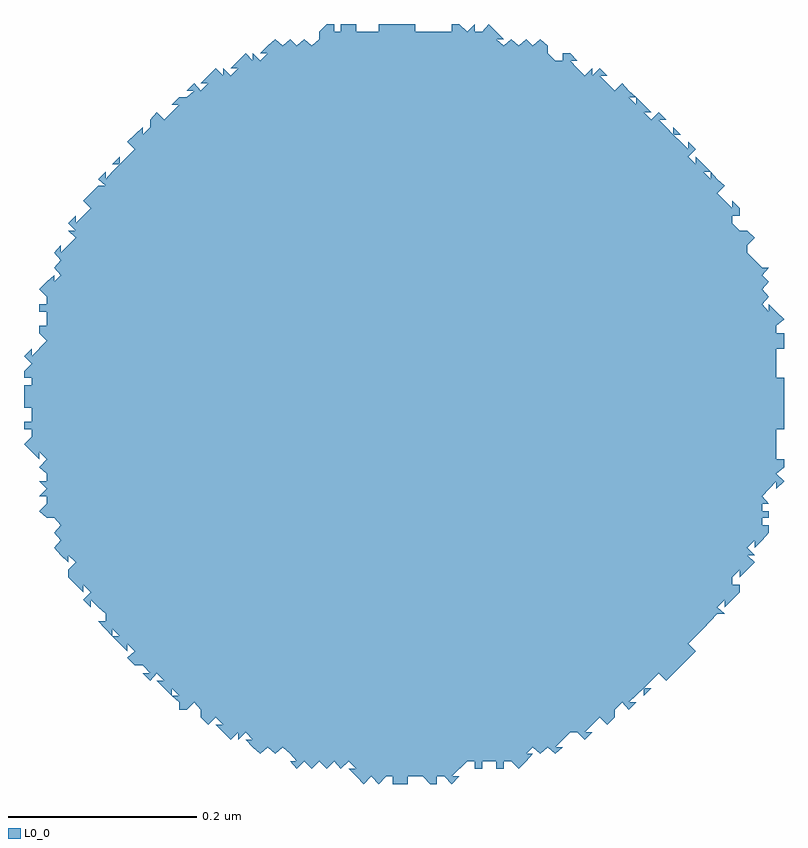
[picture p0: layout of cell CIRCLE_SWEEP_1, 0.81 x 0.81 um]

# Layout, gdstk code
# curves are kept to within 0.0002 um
import gdstk
lib = gdstk.Library(unit=1e-6, precision=1e-09)
def R(c, l, rs):  # rectangles x0, y0, x1, y1
    for r in rs: c.add(gdstk.rectangle(r[:2], r[2:], *l))
def P(c, l, *ps):  # polygons
    for p in ps: c.add(gdstk.Polygon(p, *l))
L0_0 = (0, 0)

circle_sweep_1 = lib.new_cell('CIRCLE_SWEEP_1')
R(circle_sweep_1, L0_0, [(0.067,-0.396,0.075,-0.388), (0.09,-0.396,0.098,-0.388)])
P(circle_sweep_1, L0_0, [(-0.114,-0.388),(-0.129,-0.388),(-0.122,-0.396)],
  [(-0.098,-0.388),(-0.114,-0.388),(-0.106,-0.396)],
  [(-0.082,-0.388),(-0.098,-0.388),(-0.09,-0.396)],
  [(-0.067,-0.388),(-0.082,-0.388),(-0.075,-0.396)],
  [(-0.004,-0.404),(0.012,-0.404),(0.02,-0.412),(0.027,-0.412),(0.027,-0.404),(0.035,-0.404),(0.043,-0.412),(0.051,-0.404),(0.043,-0.404),(0.059,-0.388),(-0.067,-0.388),(-0.059,-0.396),(-0.067,-0.396),(-0.051,-0.412),(-0.043,-0.404),(-0.035,-0.412),(-0.027,-0.404),(-0.02,-0.404),(-0.02,-0.412),(-0.004,-0.412)],
  [(0.122,-0.388),(0.106,-0.388),(0.114,-0.396)],
  [(-0.153,-0.373),(-0.169,-0.373),(-0.161,-0.38)],
  [(-0.137,-0.373),(-0.153,-0.373),(-0.145,-0.38)],
  [(0.129,-0.38),(0.122,-0.38),(0.129,-0.373),(-0.137,-0.373),(-0.129,-0.38),(-0.122,-0.388),(0.122,-0.388)],
  [(0.145,-0.373),(0.129,-0.373),(0.137,-0.38)],
  [(0.161,-0.373),(0.145,-0.373),(0.153,-0.38)],
  [(-0.208,-0.341),(-0.224,-0.341),(-0.216,-0.349)],
  [(0.161,-0.365),(0.169,-0.357),(0.176,-0.357),(0.184,-0.365),(0.192,-0.357),(0.184,-0.357),(0.2,-0.341),(-0.208,-0.341),(-0.2,-0.349),(-0.208,-0.349),(-0.192,-0.365),(-0.184,-0.357),(-0.184,-0.365),(-0.176,-0.357),(-0.169,-0.365),(-0.176,-0.365),(-0.169,-0.373),(0.153,-0.373)],
  [(0.216,-0.341),(0.2,-0.341),(0.208,-0.349)],
  [(0.216,-0.333),(0.224,-0.325),(0.231,-0.333),(0.239,-0.325),(0.231,-0.325),(0.247,-0.31),(0.247,-0.318),(0.255,-0.31),(0.247,-0.31),(0.255,-0.302),(-0.271,-0.302),(-0.255,-0.318),(-0.255,-0.31),(-0.247,-0.318),(-0.255,-0.318),(-0.247,-0.325),(-0.247,-0.333),(-0.239,-0.333),(-0.231,-0.325),(-0.224,-0.333),(-0.224,-0.341),(0.216,-0.341)],
  [(-0.302,-0.263),(-0.31,-0.263),(-0.302,-0.271)],
  [(0.263,-0.294),(0.271,-0.302),(0.302,-0.271),(0.294,-0.263),(-0.302,-0.263),(-0.294,-0.271),(-0.302,-0.278),(-0.294,-0.286),(-0.286,-0.286),(-0.278,-0.294),(-0.286,-0.294),(-0.278,-0.302),(-0.271,-0.294),(-0.263,-0.302),(0.255,-0.302)],
  [(0.302,-0.255),(0.31,-0.247),(0.325,-0.231),(0.333,-0.231),(0.325,-0.224),(0.333,-0.216),(0.333,-0.224),(0.349,-0.208),(-0.341,-0.208),(-0.349,-0.216),(-0.341,-0.224),(-0.341,-0.216),(-0.333,-0.224),(-0.325,-0.231),(-0.325,-0.239),(-0.333,-0.239),(-0.318,-0.255),(-0.318,-0.247),(-0.31,-0.255),(-0.318,-0.255),(-0.31,-0.263),(0.294,-0.263)],
  [(0.349,-0.2),(0.341,-0.2),(0.341,-0.192),(0.349,-0.184),(0.349,-0.192),(0.365,-0.176),(0.357,-0.169),(0.365,-0.169),(0.357,-0.161),(0.365,-0.153),(-0.373,-0.153),(-0.38,-0.161),(-0.373,-0.169),(-0.365,-0.176),(-0.365,-0.169),(-0.357,-0.176),(-0.365,-0.184),(-0.365,-0.192),(-0.349,-0.208),(-0.349,-0.2),(-0.341,-0.208),(0.349,-0.208)],
  [(0.373,-0.153),(0.365,-0.153),(0.365,-0.161)],
  [(0.38,-0.145),(0.38,-0.137),(0.373,-0.137),(0.373,-0.129),(0.38,-0.129),(0.38,-0.122),(0.373,-0.122),(0.373,-0.114),(0.38,-0.114),(0.373,-0.106),(0.388,-0.09),(-0.396,-0.09),(-0.388,-0.098),(-0.396,-0.106),(-0.388,-0.106),(-0.388,-0.114),(-0.396,-0.122),(-0.388,-0.129),(-0.38,-0.129),(-0.373,-0.137),(-0.38,-0.145),(-0.373,-0.153),(0.373,-0.153)],
  [(0.396,-0.09),(0.388,-0.09),(0.388,-0.098)],
  [(0.388,-0.082),(0.396,-0.075),(0.396,-0.067),(0.388,-0.067),(0.388,-0.035),(0.396,-0.035),(0.396,-0.02),(-0.404,-0.02),(-0.404,-0.027),(-0.412,-0.027),(-0.412,-0.035),(-0.404,-0.035),(-0.404,-0.043),(-0.412,-0.051),(-0.396,-0.067),(-0.396,-0.059),(-0.388,-0.067),(-0.396,-0.075),(-0.388,-0.082),(-0.388,-0.09),(0.396,-0.09)],
  [(0.396,0.02),(0.388,0.02),(0.388,0.051),(0.396,0.051),(0.396,0.059),(-0.388,0.059),(-0.404,0.043),(-0.404,0.051),(-0.412,0.043),(-0.404,0.035),(-0.412,0.027),(-0.412,0.02),(-0.404,0.02),(-0.404,0.012),(-0.412,0.012),(-0.412,-0.012),(-0.404,-0.012),(-0.404,-0.02),(0.396,-0.02)],
  [(0.396,0.067),(0.388,0.067),(0.388,0.075),(0.396,0.082),(0.38,0.098),(0.38,0.09),(0.373,0.098),(0.38,0.106),(0.373,0.114),(0.38,0.122),(-0.388,0.122),(-0.396,0.114),(-0.388,0.106),(-0.388,0.098),(-0.396,0.098),(-0.396,0.09),(-0.388,0.09),(-0.388,0.075),(-0.396,0.075),(-0.396,0.067),(-0.388,0.059),(0.396,0.059)],
  [(0.373,0.129),(0.38,0.137),(0.373,0.137),(0.357,0.153),(0.357,0.161),(0.365,0.169),(0.357,0.176),(0.349,0.176),(0.341,0.184),(-0.365,0.184),(-0.357,0.176),(-0.365,0.176),(-0.357,0.169),(-0.373,0.153),(-0.373,0.161),(-0.38,0.153),(-0.373,0.145),(-0.38,0.137),(-0.373,0.129),(-0.38,0.122),(-0.38,0.129),(-0.388,0.122),(0.38,0.122)],
  [(0.341,0.192),(0.349,0.192),(0.349,0.2),(0.341,0.208),(0.341,0.2),(0.325,0.216),(0.333,0.224),(0.325,0.231),(0.318,0.239),(0.318,0.231),(0.31,0.239),(-0.318,0.239),(-0.325,0.231),(-0.325,0.239),(-0.333,0.231),(-0.325,0.224),(-0.333,0.224),(-0.349,0.208),(-0.341,0.2),(-0.357,0.184),(-0.357,0.192),(-0.365,0.184),(0.341,0.184)],
  [(0.31,0.247),(0.302,0.255),(0.302,0.247),(0.294,0.255),(0.302,0.263),(0.294,0.271),(0.294,0.263),(0.286,0.271),(0.278,0.278),(0.286,0.278),(0.278,0.286),(0.278,0.278),(0.271,0.286),(-0.278,0.286),(-0.286,0.278),(-0.286,0.286),(-0.302,0.271),(-0.294,0.263),(-0.31,0.247),(-0.31,0.255),(-0.318,0.247),(-0.31,0.247),(-0.318,0.239),(0.318,0.239)],
  [(0.263,0.294),(0.271,0.294),(0.263,0.302),(0.255,0.294),(0.247,0.302),(0.255,0.302),(0.239,0.318),(0.239,0.31),(0.231,0.318),(0.239,0.318),(0.231,0.325),(-0.231,0.325),(-0.239,0.318),(-0.247,0.318),(-0.255,0.31),(-0.247,0.31),(-0.263,0.294),(-0.271,0.302),(-0.278,0.294),(-0.278,0.286),(0.271,0.286)],
  [(0.224,0.333),(0.216,0.325),(0.2,0.341),(0.208,0.341),(0.2,0.349),(0.192,0.341),(0.192,0.349),(0.184,0.341),(0.176,0.349),(0.169,0.357),(-0.184,0.357),(-0.192,0.349),(-0.184,0.349),(-0.192,0.341),(-0.2,0.349),(-0.2,0.341),(-0.208,0.349),(-0.224,0.333),(-0.216,0.333),(-0.224,0.325),(-0.231,0.333),(-0.239,0.325),(0.231,0.325)],
  [(0.169,0.365),(0.161,0.365),(0.161,0.357),(0.153,0.357),(0.145,0.365),(0.145,0.373),(0.137,0.38),(0.129,0.373),(0.122,0.38),(0.114,0.373),(0.106,0.38),(0.098,0.373),(0.09,0.38),(-0.098,0.38),(-0.106,0.373),(-0.114,0.38),(-0.122,0.373),(-0.129,0.38),(-0.137,0.373),(-0.145,0.38),(-0.153,0.373),(-0.161,0.365),(-0.153,0.365),(-0.161,0.357),(-0.169,0.365),(-0.169,0.357),(-0.176,0.365),(-0.184,0.357),(0.176,0.357)],
  [(0.09,0.388),(0.082,0.396),(0.075,0.388),(0.067,0.388),(0.067,0.396),(0.059,0.388),(0.051,0.396),(0.043,0.396),(0.043,0.388),(0.004,0.388),(0.004,0.396),(-0.035,0.396),(-0.035,0.388),(-0.059,0.388),(-0.059,0.396),(-0.075,0.396),(-0.075,0.388),(-0.082,0.388),(-0.082,0.396),(-0.09,0.396),(-0.098,0.388),(-0.098,0.38),(0.098,0.38)])

lib.write_gds('CIRCLE_SWEEP_1.gds')
